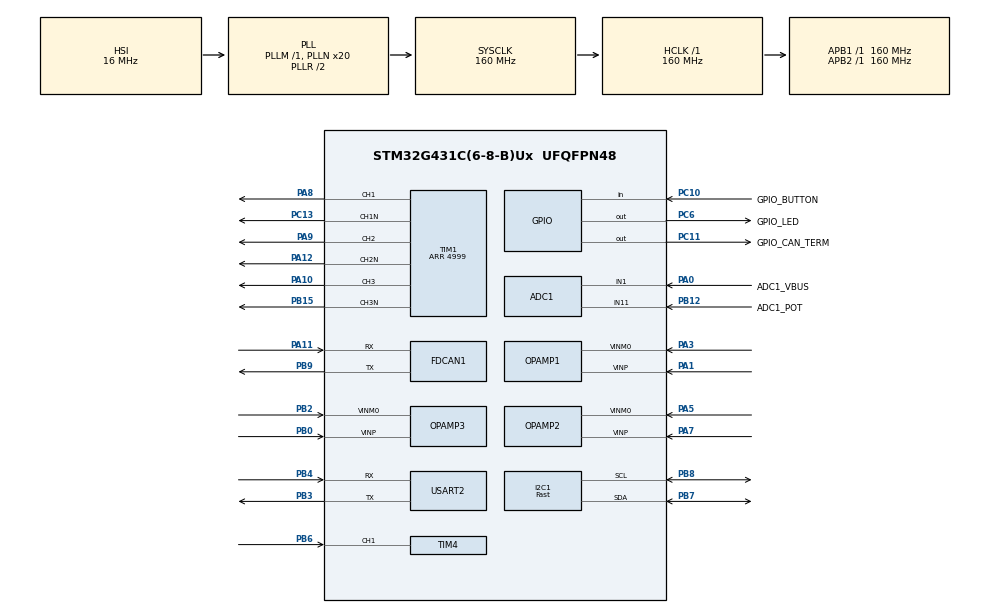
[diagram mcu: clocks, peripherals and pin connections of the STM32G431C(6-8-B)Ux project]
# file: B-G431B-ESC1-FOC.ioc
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ADC1.Channel-0\#ChannelRegularConversion=ADC_CHANNEL_VOPAMP1
ADC1.Channel-1\#ChannelRegularConversion=ADC_CHANNEL_1
ADC1.Channel-2\#ChannelRegularConversion=ADC_CHANNEL_11
ADC1.DMAContinuousRequests=ENABLE
ADC1.EOCSelection=ADC_EOC_SEQ_CONV
ADC1.ExternalTrigConv=ADC_EXTERNALTRIG_T1_TRGO
ADC1.NbrOfConversion=3
ADC1.NbrOfConversionFlag=1
ADC1.OffsetNumber-0\#ChannelRegularConversion=ADC_OFFSET_NONE
ADC1.OffsetNumber-1\#ChannelRegularConversion=ADC_OFFSET_NONE
ADC1.OffsetNumber-2\#ChannelRegularConversion=ADC_OFFSET_NONE
ADC1.Overrun=ADC_OVR_DATA_OVERWRITTEN
ADC1.Rank-0\#ChannelRegularConversion=1
ADC1.Rank-1\#ChannelRegularConversion=2
ADC1.Rank-2\#ChannelRegularConversion=3
ADC1.SamplingTime-0\#ChannelRegularConversion=ADC_SAMPLETIME_2CYCLES_5
ADC1.SamplingTime-1\#ChannelRegularConversion=ADC_SAMPLETIME_2CYCLES_5
ADC1.SamplingTime-2\#ChannelRegularConversion=ADC_SAMPLETIME_2CYCLES_5
ADC1.master=1
ADC2.Channel-0\#ChannelRegularConversion=ADC_CHANNEL_VOPAMP2
ADC2.Channel-1\#ChannelRegularConversion=ADC_CHANNEL_VOPAMP3_ADC2
ADC2.DMAContinuousRequests=ENABLE
ADC2.EOCSelection=ADC_EOC_SEQ_CONV
ADC2.ExternalTrigConv=ADC_EXTERNALTRIG_T1_TRGO
ADC2.NbrOfConversion=2
ADC2.NbrOfConversionFlag=1
ADC2.OffsetNumber-0\#ChannelRegularConversion=ADC_OFFSET_NONE
ADC2.OffsetNumber-1\#ChannelRegularConversion=ADC_OFFSET_NONE
ADC2.Overrun=ADC_OVR_DATA_OVERWRITTEN
ADC2.Rank-0\#ChannelRegularConversion=1
ADC2.Rank-1\#ChannelRegularConversion=2
ADC2.SamplingTime-0\#ChannelRegularConversion=ADC_SAMPLETIME_2CYCLES_5
ADC2.SamplingTime-1\#ChannelRegularConversion=ADC_SAMPLETIME_2CYCLES_5
Dma.ADC1.0.Direction=DMA_PERIPH_TO_MEMORY
Dma.ADC1.0.EventEnable=DISABLE
Dma.ADC1.0.Instance=DMA1_Channel3
Dma.ADC1.0.MemDataAlignment=DMA_MDATAALIGN_HALFWORD
Dma.ADC1.0.MemInc=DMA_MINC_ENABLE
Dma.ADC1.0.Mode=DMA_CIRCULAR
Dma.ADC1.0.PeriphDataAlignment=DMA_PDATAALIGN_HALFWORD
Dma.ADC1.0.PeriphInc=DMA_PINC_DISABLE
Dma.ADC1.0.Polarity=HAL_DMAMUX_REQ_GEN_RISING
Dma.ADC1.0.Priority=DMA_PRIORITY_LOW
Dma.ADC1.0.RequestNumber=1
Dma.ADC1.0.SignalID=NONE
Dma.ADC1.0.SyncEnable=DISABLE
Dma.ADC1.0.SyncPolarity=HAL_DMAMUX_SYNC_NO_EVENT
Dma.ADC1.0.SyncRequestNumber=1
Dma.ADC1.0.SyncSignalID=NONE
Dma.ADC2.1.Direction=DMA_PERIPH_TO_MEMORY
Dma.ADC2.1.EventEnable=DISABLE
Dma.ADC2.1.Instance=DMA1_Channel4
Dma.ADC2.1.MemDataAlignment=DMA_MDATAALIGN_HALFWORD
Dma.ADC2.1.MemInc=DMA_MINC_ENABLE
Dma.ADC2.1.Mode=DMA_CIRCULAR
Dma.ADC2.1.PeriphDataAlignment=DMA_PDATAALIGN_HALFWORD
Dma.ADC2.1.PeriphInc=DMA_PINC_DISABLE
Dma.ADC2.1.Polarity=HAL_DMAMUX_REQ_GEN_RISING
Dma.ADC2.1.Priority=DMA_PRIORITY_LOW
Dma.ADC2.1.RequestNumber=1
Dma.ADC2.1.SignalID=NONE
Dma.ADC2.1.SyncEnable=DISABLE
Dma.ADC2.1.SyncPolarity=HAL_DMAMUX_SYNC_NO_EVENT
Dma.ADC2.1.SyncRequestNumber=1
Dma.ADC2.1.SyncSignalID=NONE
Dma.Request0=ADC1
Dma.Request1=ADC2
Dma.Request2=USART2_RX
Dma.Request3=USART2_TX
Dma.USART2_RX.2.Direction=DMA_PERIPH_TO_MEMORY
Dma.USART2_RX.2.EventEnable=DISABLE
Dma.USART2_RX.2.Instance=DMA1_Channel1
Dma.USART2_RX.2.MemDataAlignment=DMA_MDATAALIGN_BYTE
Dma.USART2_RX.2.MemInc=DMA_MINC_ENABLE
Dma.USART2_RX.2.Mode=DMA_NORMAL
Dma.USART2_RX.2.PeriphDataAlignment=DMA_PDATAALIGN_BYTE
Dma.USART2_RX.2.PeriphInc=DMA_PINC_DISABLE
Dma.USART2_RX.2.Polarity=HAL_DMAMUX_REQ_GEN_RISING
Dma.USART2_RX.2.Priority=DMA_PRIORITY_LOW
Dma.USART2_RX.2.RequestNumber=1
Dma.USART2_RX.2.SignalID=NONE
Dma.USART2_RX.2.SyncEnable=DISABLE
Dma.USART2_RX.2.SyncPolarity=HAL_DMAMUX_SYNC_NO_EVENT
Dma.USART2_RX.2.SyncRequestNumber=1
Dma.USART2_RX.2.SyncSignalID=NONE
Dma.USART2_TX.3.Direction=DMA_MEMORY_TO_PERIPH
Dma.USART2_TX.3.EventEnable=DISABLE
Dma.USART2_TX.3.Instance=DMA1_Channel2
Dma.USART2_TX.3.MemDataAlignment=DMA_MDATAALIGN_BYTE
Dma.USART2_TX.3.MemInc=DMA_MINC_ENABLE
Dma.USART2_TX.3.Mode=DMA_NORMAL
Dma.USART2_TX.3.PeriphDataAlignment=DMA_PDATAALIGN_BYTE
Dma.USART2_TX.3.PeriphInc=DMA_PINC_DISABLE
Dma.USART2_TX.3.Polarity=HAL_DMAMUX_REQ_GEN_RISING
Dma.USART2_TX.3.Priority=DMA_PRIORITY_LOW
Dma.USART2_TX.3.RequestNumber=1
Dma.USART2_TX.3.SignalID=NONE
Dma.USART2_TX.3.SyncEnable=DISABLE
Dma.USART2_TX.3.SyncPolarity=HAL_DMAMUX_SYNC_NO_EVENT
Dma.USART2_TX.3.SyncRequestNumber=1
Dma.USART2_TX.3.SyncSignalID=NONE
FDCAN1.DataSyncJumpWidth=4
FDCAN1.DataTimeSeg1=5
FDCAN1.DataTimeSeg2=4
FDCAN1.NominalSyncJumpWidth=16
FDCAN1.NominalTimeSeg1=63
FDCAN1.NominalTimeSeg2=16
FDCAN1.StdFiltersNbr=1
I2C1.I2C_Speed_Mode=I2C_Fast
I2C1.Timing=0x00F07BFF
Mcu.Family=STM32G4
Mcu.Name=STM32G431C(6-8-B)Ux
Mcu.Package=UFQFPN48
NVIC.ADC1_2_IRQn=true\:0\:0\:false\:false\:true\:true\:true\:true
NVIC.DMA1_Channel1_IRQn=true\:0\:0\:false\:false\:true\:false\:true\:true
NVIC.DMA1_Channel2_IRQn=true\:0\:0\:false\:false\:true\:false\:true\:true
NVIC.DMA1_Channel3_IRQn=true\:0\:0\:false\:false\:true\:false\:true\:true
NVIC.DMA1_Channel4_IRQn=true\:0\:0\:false\:false\:true\:false\:true\:true
NVIC.FDCAN1_IT0_IRQn=true\:0\:0\:false\:false\:true\:true\:true\:true
NVIC.PriorityGroup=NVIC_PRIORITYGROUP_4
NVIC.TIM4_IRQn=true\:0\:0\:false\:false\:true\:true\:true\:true
NVIC.TIM6_DAC_IRQn=true\:0\:0\:false\:false\:true\:true\:true\:true
OPAMP1.PgaGain=OPAMP_PGA_GAIN_16_OR_MINUS_15
OPAMP2.PgaGain=OPAMP_PGA_GAIN_16_OR_MINUS_15
OPAMP3.PgaGain=OPAMP_PGA_GAIN_16_OR_MINUS_15
PA0.GPIO_Label=ADC1_VBUS
PA0.Mode=IN1-Single-Ended
PA0.Signal=ADC1_IN1
PA1.Mode=PGA Internally connected_IO0_BIAS
PA1.Signal=OPAMP1_VINP
PA10.Signal=S_TIM1_CH3
PA11.Mode=FDCAN_Activate
PA11.Signal=FDCAN1_RX
PA12.Mode=PWM Generation2 CH2 CH2N
PA12.Signal=TIM1_CH2N
PA13.Mode=Serial_Wire
PA13.Signal=SYS_JTMS-SWDIO
PA14.Mode=Serial_Wire
PA14.Signal=SYS_JTCK-SWCLK
PA3.Mode=PGA Internally connected_IO0_BIAS
PA3.Signal=OPAMP1_VINM0
PA5.Mode=PGA Internally connected_IO0_BIAS
PA5.Signal=OPAMP2_VINM0
PA7.Mode=PGA Internally connected_IO0_BIAS
PA7.Signal=OPAMP2_VINP
PA8.Signal=S_TIM1_CH1
PA9.Signal=S_TIM1_CH2
PB0.Mode=PGA Internally connected_IO0_BIAS
PB0.Signal=OPAMP3_VINP
PB12.GPIO_Label=ADC1_POT
PB12.Mode=IN11-Single-Ended
PB12.Signal=ADC1_IN11
PB15.Mode=PWM Generation3 CH3 CH3N
PB15.Signal=TIM1_CH3N
PB2.Mode=PGA Internally connected_IO0_BIAS
PB2.Signal=OPAMP3_VINM0
PB3.Mode=Asynchronous
PB3.Signal=USART2_TX
PB4.Mode=Asynchronous
PB4.Signal=USART2_RX
PB6.GPIO_PuPd=GPIO_PULLDOWN
PB6.Signal=S_TIM4_CH1
PB7.Mode=I2C
PB7.Signal=I2C1_SDA
PB8-BOOT0.Mode=I2C
PB8-BOOT0.Signal=I2C1_SCL
PB9.Mode=FDCAN_Activate
PB9.Signal=FDCAN1_TX
PC10.GPIO_Label=GPIO_BUTTON
PC10.Signal=GPIO_Input
PC11.GPIO_Label=GPIO_CAN_TERM
PC11.PinState=GPIO_PIN_SET
PC11.Signal=GPIO_Output
PC13.Mode=PWM Generation1 CH1 CH1N
PC13.Signal=TIM1_CH1N
PC6.GPIO_Label=GPIO_LED
PC6.Signal=GPIO_Output
PF0-OSC_IN.Mode=HSE-External-Oscillator
PF0-OSC_IN.Signal=RCC_OSC_IN
PF1-OSC_OUT.Mode=HSE-External-Oscillator
PF1-OSC_OUT.Signal=RCC_OSC_OUT
ProjectManager.HeapSize=0x200
ProjectManager.StackSize=0x400
ProjectManager.TargetToolchain=STM32CubeIDE
RCC.ADC12Freq_Value=160000000
RCC.AHBFreq_Value=160000000
RCC.APB1Freq_Value=160000000
RCC.APB1TimFreq_Value=160000000
RCC.APB2Freq_Value=160000000
RCC.APB2TimFreq_Value=160000000
RCC.CortexFreq_Value=160000000
RCC.EXTERNAL_CLOCK_VALUE=12288000
RCC.HCLKFreq_Value=160000000
RCC.HSE_VALUE=8000000
RCC.HSI48_VALUE=48000000
RCC.HSI_VALUE=16000000
RCC.LSE_VALUE=32768
RCC.PLLN=20
RCC.SYSCLKFreq_VALUE=160000000
RCC.SYSCLKSource=RCC_SYSCLKSOURCE_PLLCLK
RCC.USBFreq_Value=160000000
RCC.VCOOutputFreq_Value=320000000
SH.S_TIM1_CH1.0=TIM1_CH1,PWM Generation1 CH1 CH1N
SH.S_TIM1_CH2.0=TIM1_CH2,PWM Generation2 CH2 CH2N
SH.S_TIM1_CH3.0=TIM1_CH3,PWM Generation3 CH3 CH3N
SH.S_TIM4_CH1.0=TIM4_CH1,PWM_Input_1
TIM1.Channel-PWM\ Generation1\ CH1\ CH1N=TIM_CHANNEL_1
TIM1.Channel-PWM\ Generation2\ CH2\ CH2N=TIM_CHANNEL_2
TIM1.Channel-PWM\ Generation3\ CH3\ CH3N=TIM_CHANNEL_3
TIM1.CounterMode=TIM_COUNTERMODE_CENTERALIGNED1
TIM1.DeadTime=128
TIM1.PeriodNoDither=4999
TIM1.TIM_MasterOutputTrigger=TIM_TRGO_UPDATE
TIM4.PeriodNoDither=999
TIM4.Prescaler=159
TIM6.PeriodNoDither=9999
TIM6.Prescaler=159
TIM7.Prescaler=159
USART2.DMADisableonRxErrorParam=ADVFEATURE_DMA_DISABLEONRXERROR
USART2.FIFOMode=FIFOMODE_DISABLE
USART2.OverrunDisableParam=ADVFEATURE_OVERRUN_DISABLE
USART2.VirtualMode-Asynchronous=VM_ASYNC
VP_ADC1_OPAMP_INTERNAL1.Mode=IN-OPAMP1
VP_ADC2_OPAMP_INTERNAL2.Mode=IN-OPAMP2
VP_ADC2_OPAMP_INTERNAL3.Mode=IN-OPAMP3
VP_SYS_VS_DBSignals.Mode=DisableDeadBatterySignals
VP_TIM6_VS_ClockSourceINT.Mode=Enable_Timer
VP_TIM7_VS_ClockSourceINT.Mode=Enable_Timer
board=custom

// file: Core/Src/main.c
/* USER CODE BEGIN Header */
/**
  ******************************************************************************
  * @file           : main.c
  * @brief          : Main program body
  ******************************************************************************
  * @attention
  *
  * Copyright (c) 2022 STMicroelectronics.
  * All rights reserved.
  *
  * This software is licensed under terms that can be found in the LICENSE file
  * in the root directory of this software component.
  * If no LICENSE file comes with this software, it is provided AS-IS.
  *
  ******************************************************************************
  */
/* USER CODE END Header */
#include "main.h"

/* USER CODE BEGIN PD */
#define NLSM_END 0x0AU
#define NLSM_ESC 0x0BU
#define NLSM_ESC_END 0x1AU
#define NLSM_ESC_ESC 0x1BU
/* USER CODE END PD */

 ADC_HandleTypeDef hadc1;
ADC_HandleTypeDef hadc2;
DMA_HandleTypeDef hdma_adc1;
DMA_HandleTypeDef hdma_adc2;

FDCAN_HandleTypeDef hfdcan1;

I2C_HandleTypeDef hi2c1;

OPAMP_HandleTypeDef hopamp1;
OPAMP_HandleTypeDef hopamp2;
OPAMP_HandleTypeDef hopamp3;

TIM_HandleTypeDef htim1;
TIM_HandleTypeDef htim4;
TIM_HandleTypeDef htim6;
TIM_HandleTypeDef htim7;

UART_HandleTypeDef huart2;
DMA_HandleTypeDef hdma_usart2_rx;
DMA_HandleTypeDef hdma_usart2_tx;

/* USER CODE BEGIN PV */

const uint16_t ADC_RESOLUTION = 4096;
//const float ADC_OPAMP_CURRENT_COEFFICIENT = 0.00357; // convert ADC bits to Amps
const float ADC_OPAMP_CURRENT_COEFFICIENT = 0.004; // convert ADC bits to Amps

uint16_t adc1_dma_data[3];
uint16_t adc2_dma_data[2];
uint16_t adc_opamp_current_offset[3];

AS5600 encoder;
FOC_Config foc_config;
FOC_Param foc_param;

// encoder variables
float encoder_position_prev;
int32_t encoder_n_rotations;

float input_pot;

FDCAN_RxHeaderTypeDef can_rx_header;
uint8_t can_rx_data[8];
FDCAN_TxHeaderTypeDef can_tx_header;
uint8_t can_tx_data[8];

uint8_t serial_rx_buffer[32];
uint8_t serial_tx_buffer[128];

/* USER CODE END PV */

void SystemClock_Config(void);
static void MX_GPIO_Init(void);
static void MX_OPAMP1_Init(void);
static void MX_OPAMP2_Init(void);
static void MX_OPAMP3_Init(void);
static void MX_TIM1_Init(void);
static void MX_USART2_UART_Init(void);
static void MX_I2C1_Init(void);
static void MX_DMA_Init(void);
static void MX_ADC2_Init(void);
static void MX_ADC1_Init(void);
static void MX_TIM6_Init(void);
static void MX_TIM4_Init(void);
static void MX_FDCAN1_Init(void);
static void MX_TIM7_Init(void);
/* USER CODE BEGIN PFP */

uint8_t getUserButton();
void handleHostCommand();

/* USER CODE END PFP */

/* USER CODE BEGIN 0 */

void HAL_ADC_ConvCpltCallback(ADC_HandleTypeDef *hadc) {
  if (hadc == &hadc1) {
    // phase current: positive for going into phase, negative for going out of phase
    // shunt: when current flows inward phase, shunt voltage is negative; when current flows outward phase, shunt voltage is positive
    // thus we put negative sign at phase current conversion.
    if(__HAL_TIM_IS_TIM_COUNTING_DOWN(&htim1)) {
      foc_param.phase_current_measured[0] = -(float)(adc1_dma_data[0] - adc_opamp_current_offset[0]) * ADC_OPAMP_CURRENT_COEFFICIENT;
      foc_param.bus_voltage_measured = adc1_dma_data[1] / (float)ADC_RESOLUTION * 3.3 * 10.39;
      input_pot = (adc1_dma_data[2] / (float)ADC_RESOLUTION) * 2 - 1;
    }
  }
  if (hadc == &hadc2) {
    if(__HAL_TIM_IS_TIM_COUNTING_DOWN(&htim1)) {
      foc_param.phase_current_measured[1] = -(float)(adc2_dma_data[0] - adc_opamp_current_offset[1]) * ADC_OPAMP_CURRENT_COEFFICIENT;
      foc_param.phase_current_measured[2] = -(float)(adc2_dma_data[1] - adc_opamp_current_offset[2]) * ADC_OPAMP_CURRENT_COEFFICIENT;
    }
  }
}

void HAL_TIM_IC_CaptureCallback(TIM_HandleTypeDef *htim) {
//  if (htim == &htim4) {
//    logStat();
//    FOC_updateTorque();
//  }
}

void HAL_TIM_PeriodElapsedCallback(TIM_HandleTypeDef *htim) {
  if (htim == &htim4) {
    FOC_updateTorque();
  }
  else if (htim == &htim6) {
    FOC_updatePositionVelocityPID();
  }
}

void HAL_UARTEx_RxEventCallback(UART_HandleTypeDef *huart, uint16_t size) {
  if (huart == &huart2) {
    if (size == 11) {
      can_rx_header.Identifier = ((uint32_t)serial_rx_buffer[0] << 8) | serial_rx_buffer[1];
      can_rx_header.DataLength = serial_rx_buffer[2];
      can_rx_data[0] = serial_rx_buffer[4];
      can_rx_data[1] = serial_rx_buffer[5];
      can_rx_data[2] = serial_rx_buffer[6];
      can_rx_data[3] = serial_rx_buffer[7];
      can_rx_data[4] = serial_rx_buffer[8];
      can_rx_data[5] = serial_rx_buffer[9];
      can_rx_data[6] = serial_rx_buffer[10];
      can_rx_data[7] = serial_rx_buffer[11];

      handleHostCommand();
    }
    HAL_UARTEx_ReceiveToIdle_DMA(&huart2, serial_rx_buffer, 12);
  }
}

uint8_t getUserButton() {
  return HAL_GPIO_ReadPin(GPIO_BUTTON_GPIO_Port, GPIO_BUTTON_Pin) ? 0 : 1;
}

void handleHostCommand() {

  switch (can_rx_header.Identifier) {
    case 0x08:  // mode control frame
      if (can_rx_header.DataLength == 0) {
        serial_tx_buffer[0] = 0x00;
        serial_tx_buffer[1] = 0x08;
        serial_tx_buffer[2] = 0x01;
        serial_tx_buffer[0] = 0x00;  // UNUSED
        serial_tx_buffer[4] = foc_config.mode;
        HAL_UART_Transmit_DMA(&huart2, serial_tx_buffer, 12);
        break;
      }
      switch (can_rx_data[0]) {
        case FOC_MODE_CALIBRATION:  // calibration mode
          sprintf((char *)serial_tx_buffer, "Start Calibration\n");
          HAL_UART_Transmit_DMA(&huart2, serial_tx_buffer, strlen((char *)serial_tx_buffer));
          FOC_runCalibrationSequence();
          sprintf((char *)serial_tx_buffer, "Calibration Done!\n");
          HAL_UART_Transmit_DMA(&huart2, serial_tx_buffer, strlen((char *)serial_tx_buffer));
          break;
        case FOC_MODE_TORQUE:  // torque mode
          foc_config.mode = FOC_MODE_TORQUE;
          sprintf((char *)serial_tx_buffer, "TORQUE mode\n");
          HAL_UART_Transmit_DMA(&huart2, serial_tx_buffer, strlen((char *)serial_tx_buffer));
          break;
        case FOC_MODE_VELOCITY:  // velocity mode
          foc_config.mode = FOC_MODE_VELOCITY;
          sprintf((char *)serial_tx_buffer, "VELOCITY mode\n");
          HAL_UART_Transmit_DMA(&huart2, serial_tx_buffer, strlen((char *)serial_tx_buffer));
          break;
        case FOC_MODE_POSITION:  // position mode
          foc_config.mode = FOC_MODE_POSITION;
          sprintf((char *)serial_tx_buffer, "POSITION mode\n");
          HAL_UART_Transmit_DMA(&huart2, serial_tx_buffer, strlen((char *)serial_tx_buffer));
          break;
        default:  // idle mode
          foc_config.mode = FOC_MODE_IDLE;
          sprintf((char *)serial_tx_buffer, "IDLE mode\n");
          HAL_UART_Transmit_DMA(&huart2, serial_tx_buffer, strlen((char *)serial_tx_buffer));
          break;
      }
      break;

    case 0x20:  // currents info
      break;

    case 0x40:  // log position
      if (can_rx_header.DataLength == 0) {
        serial_tx_buffer[0] = 0x00;
        serial_tx_buffer[1] = 0x40;
        serial_tx_buffer[2] = 0x08;
        serial_tx_buffer[0] = 0x00;  // UNUSED
        ((float *)serial_tx_buffer)[1] = foc_param.position_setpoint;
        ((float *)serial_tx_buffer)[2] = foc_param.position_measured;
        HAL_UART_Transmit_DMA(&huart2, serial_tx_buffer, 12);
        break;
      }
      break;
    case 0x41:  // log velocity
      if (can_rx_header.DataLength == 0) {
        serial_tx_buffer[0] = 0x00;
        serial_tx_buffer[1] = 0x41;
        serial_tx_buffer[2] = 0x08;
        serial_tx_buffer[0] = 0x00;  // UNUSED
        ((float *)serial_tx_buffer)[1] = foc_param.velocity_setpoint;
        ((float *)serial_tx_buffer)[2] = foc_param.velocity_measured;
        HAL_UART_Transmit_DMA(&huart2, serial_tx_buffer, 12);
        break;
      }
  }

//  }
//  if (command == 'I') {
//    sprintf(str, "%f\t%f\t%f\t%f\t%f\t%f\t%f\n",
//        foc_param.phase_current_measured[0],
//        foc_param.phase_current_measured[1],
//        foc_param.phase_current_measured[2],
//        foc_param.i_alpha,
//        foc_param.i_beta,
//        foc_param.i_q,
//        foc_param.i_d);
//    HAL_UART_Transmit(&huart2, (uint8_t *)str, strlen(str), 1000);
//    return;
//  }
//  if (command == 'V') {  // log voltages
//    sprintf(str, "%f\t%f\t%f\t%f\t%f\t%f\t%f\t%f\n",
//        foc_param.phase_voltage_setpoint[0],
//        foc_param.phase_voltage_setpoint[1],
//        foc_param.phase_voltage_setpoint[2],
//        foc_param.v_alpha,
//        foc_param.v_beta,
//        foc_param.v_q,
//        foc_param.v_d,
//        foc_param.bus_voltage_measured);
//    HAL_UART_Transmit(&huart2, (uint8_t *)str, strlen(str), 1000);
//    return;
//  }
//  if (command == 'G') {  // log general
//    sprintf(str, "%f\t%f\t%f\t%f\t%f\t%f\n",
//        foc_param.position_measured,
//        foc_param.position_setpoint,
//        foc_param.velocity_measured,
//        foc_param.velocity_setpoint,
//        foc_param.i_q,
//        foc_param.torque_setpoint
//        );
//    HAL_UART_Transmit(&huart2, (uint8_t *)str, strlen(str), 1000);
//    return;
//  }
}

void CAN_init(void) {
  FDCAN_FilterTypeDef sFilterConfig;

  /* Configure Rx filter */
  sFilterConfig.IdType = FDCAN_STANDARD_ID;
  sFilterConfig.FilterIndex = 0;
  sFilterConfig.FilterType = FDCAN_FILTER_RANGE;
  sFilterConfig.FilterConfig = FDCAN_FILTER_TO_RXFIFO0;
  sFilterConfig.FilterID1 = 0x000;
  sFilterConfig.FilterID2 = 0x100;
  if (HAL_FDCAN_ConfigFilter(&hfdcan1, &sFilterConfig) != HAL_OK) {
    Error_Handler();
  }

  /* Configure global filter:
     Filter all remote frames with STD and EXT ID
     Reject non matching frames with STD ID and EXT ID */
  if (HAL_FDCAN_ConfigGlobalFilter(&hfdcan1, FDCAN_REJECT, FDCAN_REJECT, FDCAN_FILTER_REMOTE, FDCAN_FILTER_REMOTE) != HAL_OK) {
    Error_Handler();
  }

  /* Start the FDCAN module */
  if (HAL_FDCAN_Start(&hfdcan1) != HAL_OK) {
    Error_Handler();
  }

  if (HAL_FDCAN_ActivateNotification(&hfdcan1, FDCAN_IT_RX_FIFO0_NEW_MESSAGE, 0) != HAL_OK) {
    Error_Handler();
  }

  /* Prepare Tx Header */
//  TxHeader.Identifier = 0;
//  TxHeader.IdType = FDCAN_STANDARD_ID;
//  TxHeader.TxFrameType = FDCAN_DATA_FRAME;
//  TxHeader.DataLength = FDCAN_DLC_BYTES_8;
//  TxHeader.ErrorStateIndicator = FDCAN_ESI_ACTIVE;
//  TxHeader.BitRateSwitch = FDCAN_BRS_OFF;
//  TxHeader.FDFormat = FDCAN_CLASSIC_CAN;
//  TxHeader.TxEventFifoControl = FDCAN_NO_TX_EVENTS;
//  TxHeader.MessageMarker = 0;
}

/* USER CODE END 0 */

int main(void)
{

  /* MCU Configuration--------------------------------------------------------*/

  /* Reset of all peripherals, Initializes the Flash interface and the Systick. */
  HAL_Init();

  /* Configure the system clock */
  SystemClock_Config();

  /* Initialize all configured peripherals */
  MX_GPIO_Init();
  MX_OPAMP1_Init();
  MX_OPAMP2_Init();
  MX_OPAMP3_Init();
  MX_TIM1_Init();
  MX_USART2_UART_Init();
  MX_I2C1_Init();
  MX_DMA_Init();
  MX_ADC2_Init();
  MX_ADC1_Init();
  MX_TIM6_Init();
  MX_TIM4_Init();
  MX_FDCAN1_Init();
  MX_TIM7_Init();
  /* USER CODE BEGIN 2 */

  AS5600_init(&encoder, &hi2c1, &htim7);

  foc_config.mode = FOC_MODE_IDLE;
  foc_config.encoder_flux_angle_offset = 1.77;
  foc_config.n_pole_pairs = 14;
  foc_config.motor_direction = 1;
  foc_config.is_closed_loop = 0;

  foc_config.position_kp = 0.2;
  foc_config.position_ki = 0.001;
  foc_config.position_ki_threshold = 100;
  foc_config.position_kd = 0.01;
  foc_config.position_limit_lower = -0.25*M_PI*15;
  foc_config.position_limit_upper = 0.75*M_PI*15;

  foc_config.velocity_kp = 0.2;
  foc_config.velocity_ki = 0.002;
  foc_config.velocity_ki_threshold = 100;
  foc_config.velocity_limit_upper = 0;
  foc_config.velocity_limit_lower = 0;

  foc_config.torque_kp = 4;
  foc_config.torque_limit_upper = 10;
  foc_config.torque_limit_lower = -10;

  foc_config.flux_kp = 4;

  foc_config.current_limit = 5;

  foc_config.current_sample_filter_rate = 0.1;

  FOC_init(&foc_config, &foc_param, &encoder);

//  uint8_t buffer[2];
//  HAL_I2C_Mem_Read(&hi2c1, 0b0110110<<1, 0x08, I2C_MEMADD_SIZE_8BIT, buffer, 1, 10);
//  buffer[0] &= ~(0b11 << 4);
//  buffer[0] |= (0b10 << 4);
//  HAL_I2C_Mem_Write(&hi2c1, 0b0110110<<1, 0x08, I2C_MEMADD_SIZE_8BIT, buffer, 1, 10);

  adc_opamp_current_offset[0] = 2485;
  adc_opamp_current_offset[1] = 2463;
  adc_opamp_current_offset[2] = 2484;

  // initialize
  CAN_init();

  __HAL_TIM_SET_COMPARE(&htim1, TIM_CHANNEL_1, 0);
  __HAL_TIM_SET_COMPARE(&htim1, TIM_CHANNEL_2, 0);
  __HAL_TIM_SET_COMPARE(&htim1, TIM_CHANNEL_3, 0);

  HAL_TIM_PWM_Start(&htim1,TIM_CHANNEL_1);
  HAL_TIMEx_PWMN_Start(&htim1,TIM_CHANNEL_1);
  HAL_TIM_PWM_Start(&htim1,TIM_CHANNEL_2);
  HAL_TIMEx_PWMN_Start(&htim1,TIM_CHANNEL_2);
  HAL_TIM_PWM_Start(&htim1,TIM_CHANNEL_3);
  HAL_TIMEx_PWMN_Start(&htim1,TIM_CHANNEL_3);

  // OPAMP and ADC init
  HAL_OPAMP_Start(&hopamp1);
  HAL_OPAMP_Start(&hopamp2);
  HAL_OPAMP_Start(&hopamp3);

  HAL_ADC_Start_DMA(&hadc1, (uint32_t*)adc1_dma_data, 3);
  HAL_ADC_Start_DMA(&hadc2, (uint32_t*)adc2_dma_data, 2);

//  HAL_TIM_IC_Start_IT(&htim4, TIM_CHANNEL_1);
//  HAL_TIM_IC_Start(&htim4, TIM_CHANNEL_2);
  HAL_TIM_Base_Start_IT(&htim4);
  HAL_TIM_Base_Start_IT(&htim6);
  HAL_TIM_Base_Start(&htim7);

  // CORDIC init
//  API_CORDIC_Processor_Init();

  foc_param.position_setpoint = 0;

  HAL_UART_Transmit(&huart2, (uint8_t *)"ready\n", strlen("ready\n"), 1000);

  HAL_UARTEx_ReceiveToIdle_DMA(&huart2, serial_rx_buffer, 12);

  /* USER CODE END 2 */

  /* Infinite loop */
  while (1) {

    /* USER CODE BEGIN 3 */
    if (getUserButton()) {
      FOC_runCalibrationSequence();
    }

    if (foc_config.mode == FOC_MODE_TORQUE) {
      foc_param.torque_setpoint = input_pot * 5;
      foc_param.velocity_setpoint = 0;
      foc_param.position_setpoint = 0;
    }
    else if (foc_config.mode == FOC_MODE_VELOCITY) {
      foc_param.velocity_setpoint = input_pot * 10;
      foc_param.position_setpoint = 0;
    }
    else if (foc_config.mode == FOC_MODE_POSITION) {
      foc_param.velocity_setpoint = 0;
      foc_param.position_setpoint = input_pot * M_PI * 15;
    }
//    handleHostCommand();
    HAL_Delay(1);
  }
  /* USER CODE END 3 */
}

void SystemClock_Config(void)
{
  RCC_OscInitTypeDef RCC_OscInitStruct = {0};
  RCC_ClkInitTypeDef RCC_ClkInitStruct = {0};

  /** Configure the main internal regulator output voltage
  */
  HAL_PWREx_ControlVoltageScaling(PWR_REGULATOR_VOLTAGE_SCALE1_BOOST);

  /** Initializes the RCC Oscillators according to the specified parameters
  * in the RCC_OscInitTypeDef structure.
  */
  RCC_OscInitStruct.OscillatorType = RCC_OSCILLATORTYPE_HSI;
  RCC_OscInitStruct.HSIState = RCC_HSI_ON;
  RCC_OscInitStruct.HSICalibrationValue = RCC_HSICALIBRATION_DEFAULT;
  RCC_OscInitStruct.PLL.PLLState = RCC_PLL_ON;
  RCC_OscInitStruct.PLL.PLLSource = RCC_PLLSOURCE_HSI;
  RCC_OscInitStruct.PLL.PLLM = RCC_PLLM_DIV1;
  RCC_OscInitStruct.PLL.PLLN = 20;
  RCC_OscInitStruct.PLL.PLLP = RCC_PLLP_DIV2;
  RCC_OscInitStruct.PLL.PLLQ = RCC_PLLQ_DIV2;
  RCC_OscInitStruct.PLL.PLLR = RCC_PLLR_DIV2;
  if (HAL_RCC_OscConfig(&RCC_OscInitStruct) != HAL_OK)
  {
    Error_Handler();
  }

  /** Initializes the CPU, AHB and APB buses clocks
  */
  RCC_ClkInitStruct.ClockType = RCC_CLOCKTYPE_HCLK|RCC_CLOCKTYPE_SYSCLK
                              |RCC_CLOCKTYPE_PCLK1|RCC_CLOCKTYPE_PCLK2;
  RCC_ClkInitStruct.SYSCLKSource = RCC_SYSCLKSOURCE_PLLCLK;
  RCC_ClkInitStruct.AHBCLKDivider = RCC_SYSCLK_DIV1;
  RCC_ClkInitStruct.APB1CLKDivider = RCC_HCLK_DIV1;
  RCC_ClkInitStruct.APB2CLKDivider = RCC_HCLK_DIV1;

  if (HAL_RCC_ClockConfig(&RCC_ClkInitStruct, FLASH_LATENCY_4) != HAL_OK)
  {
    Error_Handler();
  }
}

static void MX_ADC1_Init(void)
{

  ADC_MultiModeTypeDef multimode = {0};
  ADC_ChannelConfTypeDef sConfig = {0};

  /** Common config
  */
  hadc1.Instance = ADC1;
  hadc1.Init.ClockPrescaler = ADC_CLOCK_SYNC_PCLK_DIV4;
  hadc1.Init.Resolution = ADC_RESOLUTION_12B;
  hadc1.Init.DataAlign = ADC_DATAALIGN_RIGHT;
  hadc1.Init.GainCompensation = 0;
  hadc1.Init.ScanConvMode = ADC_SCAN_ENABLE;
  hadc1.Init.EOCSelection = ADC_EOC_SEQ_CONV;
  hadc1.Init.LowPowerAutoWait = DISABLE;
  hadc1.Init.ContinuousConvMode = DISABLE;
  hadc1.Init.NbrOfConversion = 3;
  hadc1.Init.DiscontinuousConvMode = DISABLE;
  hadc1.Init.ExternalTrigConv = ADC_EXTERNALTRIG_T1_TRGO;
  hadc1.Init.ExternalTrigConvEdge = ADC_EXTERNALTRIGCONVEDGE_RISING;
  hadc1.Init.DMAContinuousRequests = ENABLE;
  hadc1.Init.Overrun = ADC_OVR_DATA_OVERWRITTEN;
  hadc1.Init.OversamplingMode = DISABLE;
  if (HAL_ADC_Init(&hadc1) != HAL_OK)
  {
    Error_Handler();
  }

  /** Configure the ADC multi-mode
  */
  multimode.Mode = ADC_MODE_INDEPENDENT;
  if (HAL_ADCEx_MultiModeConfigChannel(&hadc1, &multimode) != HAL_OK)
  {
    Error_Handler();
  }

  /** Configure Regular Channel
  */
  sConfig.Channel = ADC_CHANNEL_VOPAMP1;
  sConfig.Rank = ADC_REGULAR_RANK_1;
  sConfig.SamplingTime = ADC_SAMPLETIME_2CYCLES_5;
  sConfig.SingleDiff = ADC_SINGLE_ENDED;
  sConfig.OffsetNumber = ADC_OFFSET_NONE;
  sConfig.Offset = 0;
  if (HAL_ADC_ConfigChannel(&hadc1, &sConfig) != HAL_OK)
  {
    Error_Handler();
  }

  /** Configure Regular Channel
  */
  sConfig.Channel = ADC_CHANNEL_1;
  sConfig.Rank = ADC_REGULAR_RANK_2;
  if (HAL_ADC_ConfigChannel(&hadc1, &sConfig) != HAL_OK)
  {
    Error_Handler();
  }

  /** Configure Regular Channel
  */
  sConfig.Channel = ADC_CHANNEL_11;
  sConfig.Rank = ADC_REGULAR_RANK_3;
  if (HAL_ADC_ConfigChannel(&hadc1, &sConfig) != HAL_OK)
  {
    Error_Handler();
  }

}

static void MX_ADC2_Init(void)
{

  ADC_ChannelConfTypeDef sConfig = {0};

  /** Common config
  */
  hadc2.Instance = ADC2;
  hadc2.Init.ClockPrescaler = ADC_CLOCK_SYNC_PCLK_DIV4;
  hadc2.Init.Resolution = ADC_RESOLUTION_12B;
  hadc2.Init.DataAlign = ADC_DATAALIGN_RIGHT;
  hadc2.Init.GainCompensation = 0;
  hadc2.Init.ScanConvMode = ADC_SCAN_ENABLE;
  hadc2.Init.EOCSelection = ADC_EOC_SEQ_CONV;
  hadc2.Init.LowPowerAutoWait = DISABLE;
  hadc2.Init.ContinuousConvMode = DISABLE;
  hadc2.Init.NbrOfConversion = 2;
  hadc2.Init.DiscontinuousConvMode = DISABLE;
  hadc2.Init.ExternalTrigConv = ADC_EXTERNALTRIG_T1_TRGO;
  hadc2.Init.ExternalTrigConvEdge = ADC_EXTERNALTRIGCONVEDGE_RISING;
  hadc2.Init.DMAContinuousRequests = ENABLE;
  hadc2.Init.Overrun = ADC_OVR_DATA_OVERWRITTEN;
  hadc2.Init.OversamplingMode = DISABLE;
  if (HAL_ADC_Init(&hadc2) != HAL_OK)
  {
    Error_Handler();
  }

  /** Configure Regular Channel
  */
  sConfig.Channel = ADC_CHANNEL_VOPAMP2;
  sConfig.Rank = ADC_REGULAR_RANK_1;
  sConfig.SamplingTime = ADC_SAMPLETIME_2CYCLES_5;
  sConfig.SingleDiff = ADC_SINGLE_ENDED;
  sConfig.OffsetNumber = ADC_OFFSET_NONE;
  sConfig.Offset = 0;
  if (HAL_ADC_ConfigChannel(&hadc2, &sConfig) != HAL_OK)
  {
    Error_Handler();
  }

  /** Configure Regular Channel
  */
  sConfig.Channel = ADC_CHANNEL_VOPAMP3_ADC2;
  sConfig.Rank = ADC_REGULAR_RANK_2;
  if (HAL_ADC_ConfigChannel(&hadc2, &sConfig) != HAL_OK)
  {
    Error_Handler();
  }

}

static void MX_FDCAN1_Init(void)
{

  hfdcan1.Instance = FDCAN1;
  hfdcan1.Init.ClockDivider = FDCAN_CLOCK_DIV1;
  hfdcan1.Init.FrameFormat = FDCAN_FRAME_CLASSIC;
  hfdcan1.Init.Mode = FDCAN_MODE_NORMAL;
  hfdcan1.Init.AutoRetransmission = DISABLE;
  hfdcan1.Init.TransmitPause = DISABLE;
  hfdcan1.Init.ProtocolException = DISABLE;
  hfdcan1.Init.NominalPrescaler = 1;
  hfdcan1.Init.NominalSyncJumpWidth = 16;
  hfdcan1.Init.NominalTimeSeg1 = 63;
  hfdcan1.Init.NominalTimeSeg2 = 16;
  hfdcan1.Init.DataPrescaler = 1;
  hfdcan1.Init.DataSyncJumpWidth = 4;
  hfdcan1.Init.DataTimeSeg1 = 5;
  hfdcan1.Init.DataTimeSeg2 = 4;
  hfdcan1.Init.StdFiltersNbr = 1;
  hfdcan1.Init.ExtFiltersNbr = 0;
  hfdcan1.Init.TxFifoQueueMode = FDCAN_TX_FIFO_OPERATION;
  if (HAL_FDCAN_Init(&hfdcan1) != HAL_OK)
  {
    Error_Handler();
  }

}

static void MX_I2C1_Init(void)
{

  hi2c1.Instance = I2C1;
  hi2c1.Init.Timing = 0x00F07BFF;
  hi2c1.Init.OwnAddress1 = 0;
  hi2c1.Init.AddressingMode = I2C_ADDRESSINGMODE_7BIT;
  hi2c1.Init.DualAddressMode = I2C_DUALADDRESS_DISABLE;
  hi2c1.Init.OwnAddress2 = 0;
  hi2c1.Init.OwnAddress2Masks = I2C_OA2_NOMASK;
  hi2c1.Init.GeneralCallMode = I2C_GENERALCALL_DISABLE;
  hi2c1.Init.NoStretchMode = I2C_NOSTRETCH_DISABLE;
  if (HAL_I2C_Init(&hi2c1) != HAL_OK)
  {
    Error_Handler();
  }

  /** Configure Analogue filter
  */
  if (HAL_I2CEx_ConfigAnalogFilter(&hi2c1, I2C_ANALOGFILTER_ENABLE) != HAL_OK)
  {
    Error_Handler();
  }

  /** Configure Digital filter
  */
  if (HAL_I2CEx_ConfigDigitalFilter(&hi2c1, 0) != HAL_OK)
  {
    Error_Handler();
  }

}

static void MX_OPAMP1_Init(void)
{

  hopamp1.Instance = OPAMP1;
  hopamp1.Init.PowerMode = OPAMP_POWERMODE_NORMALSPEED;
  hopamp1.Init.Mode = OPAMP_PGA_MODE;
  hopamp1.Init.NonInvertingInput = OPAMP_NONINVERTINGINPUT_IO0;
  hopamp1.Init.InternalOutput = ENABLE;
  hopamp1.Init.TimerControlledMuxmode = OPAMP_TIMERCONTROLLEDMUXMODE_DISABLE;
  hopamp1.Init.PgaConnect = OPAMP_PGA_CONNECT_INVERTINGINPUT_IO0_BIAS;
  hopamp1.Init.PgaGain = OPAMP_PGA_GAIN_16_OR_MINUS_15;
  hopamp1.Init.UserTrimming = OPAMP_TRIMMING_FACTORY;
  if (HAL_OPAMP_Init(&hopamp1) != HAL_OK)
  {
    Error_Handler();
  }

}

static void MX_OPAMP2_Init(void)
{

  hopamp2.Instance = OPAMP2;
  hopamp2.Init.PowerMode = OPAMP_POWERMODE_NORMALSPEED;
  hopamp2.Init.Mode = OPAMP_PGA_MODE;
  hopamp2.Init.NonInvertingInput = OPAMP_NONINVERTINGINPUT_IO0;
  hopamp2.Init.InternalOutput = ENABLE;
  hopamp2.Init.TimerControlledMuxmode = OPAMP_TIMERCONTROLLEDMUXMODE_DISABLE;
  hopamp2.Init.PgaConnect = OPAMP_PGA_CONNECT_INVERTINGINPUT_IO0_BIAS;
  hopamp2.Init.PgaGain = OPAMP_PGA_GAIN_16_OR_MINUS_15;
  hopamp2.Init.UserTrimming = OPAMP_TRIMMING_FACTORY;
  if (HAL_OPAMP_Init(&hopamp2) != HAL_OK)
  {
    Error_Handler();
  }

}

static void MX_OPAMP3_Init(void)
{

  hopamp3.Instance = OPAMP3;
  hopamp3.Init.PowerMode = OPAMP_POWERMODE_NORMALSPEED;
  hopamp3.Init.Mode = OPAMP_PGA_MODE;
  hopamp3.Init.NonInvertingInput = OPAMP_NONINVERTINGINPUT_IO0;
  hopamp3.Init.InternalOutput = ENABLE;
  hopamp3.Init.TimerControlledMuxmode = OPAMP_TIMERCONTROLLEDMUXMODE_DISABLE;
  hopamp3.Init.PgaConnect = OPAMP_PGA_CONNECT_INVERTINGINPUT_IO0_BIAS;
  hopamp3.Init.PgaGain = OPAMP_PGA_GAIN_16_OR_MINUS_15;
  hopamp3.Init.UserTrimming = OPAMP_TRIMMING_FACTORY;
  if (HAL_OPAMP_Init(&hopamp3) != HAL_OK)
  {
    Error_Handler();
  }

}

static void MX_TIM1_Init(void)
{

  TIM_MasterConfigTypeDef sMasterConfig = {0};
  TIM_OC_InitTypeDef sConfigOC = {0};
  TIM_BreakDeadTimeConfigTypeDef sBreakDeadTimeConfig = {0};

  htim1.Instance = TIM1;
  htim1.Init.Prescaler = 0;
  htim1.Init.CounterMode = TIM_COUNTERMODE_CENTERALIGNED1;
  htim1.Init.Period = 4999;
  htim1.Init.ClockDivision = TIM_CLOCKDIVISION_DIV1;
  htim1.Init.RepetitionCounter = 0;
  htim1.Init.AutoReloadPreload = TIM_AUTORELOAD_PRELOAD_DISABLE;
  if (HAL_TIM_PWM_Init(&htim1) != HAL_OK)
  {
    Error_Handler();
  }
  sMasterConfig.MasterOutputTrigger = TIM_TRGO_UPDATE;
  sMasterConfig.MasterOutputTrigger2 = TIM_TRGO2_RESET;
  sMasterConfig.MasterSlaveMode = TIM_MASTERSLAVEMODE_DISABLE;
  if (HAL_TIMEx_MasterConfigSynchronization(&htim1, &sMasterConfig) != HAL_OK)
  {
    Error_Handler();
  }
  sConfigOC.OCMode = TIM_OCMODE_PWM1;
  sConfigOC.Pulse = 0;
  sConfigOC.OCPolarity = TIM_OCPOLARITY_HIGH;
  sConfigOC.OCNPolarity = TIM_OCNPOLARITY_HIGH;
  sConfigOC.OCFastMode = TIM_OCFAST_DISABLE;
  sConfigOC.OCIdleState = TIM_OCIDLESTATE_RESET;
  sConfigOC.OCNIdleState = TIM_OCNIDLESTATE_RESET;
  if (HAL_TIM_PWM_ConfigChannel(&htim1, &sConfigOC, TIM_CHANNEL_1) != HAL_OK)
  {
    Error_Handler();
  }
  if (HAL_TIM_PWM_ConfigChannel(&htim1, &sConfigOC, TIM_CHANNEL_2) != HAL_OK)
  {
    Error_Handler();
  }
  if (HAL_TIM_PWM_ConfigChannel(&htim1, &sConfigOC, TIM_CHANNEL_3) != HAL_OK)
  {
    Error_Handler();
  }
  sBreakDeadTimeConfig.OffStateRunMode = TIM_OSSR_DISABLE;
  sBreakDeadTimeConfig.OffStateIDLEMode = TIM_OSSI_DISABLE;
  sBreakDeadTimeConfig.LockLevel = TIM_LOCKLEVEL_OFF;
  sBreakDeadTimeConfig.DeadTime = 128;
  sBreakDeadTimeConfig.BreakState = TIM_BREAK_DISABLE;
  sBreakDeadTimeConfig.BreakPolarity = TIM_BREAKPOLARITY_HIGH;
  sBreakDeadTimeConfig.BreakFilter = 0;
  sBreakDeadTimeConfig.BreakAFMode = TIM_BREAK_AFMODE_INPUT;
  sBreakDeadTimeConfig.Break2State = TIM_BREAK2_DISABLE;
  sBreakDeadTimeConfig.Break2Polarity = TIM_BREAK2POLARITY_HIGH;
  sBreakDeadTimeConfig.Break2Filter = 0;
  sBreakDeadTimeConfig.Break2AFMode = TIM_BREAK_AFMODE_INPUT;
  sBreakDeadTimeConfig.AutomaticOutput = TIM_AUTOMATICOUTPUT_DISABLE;
  if (HAL_TIMEx_ConfigBreakDeadTime(&htim1, &sBreakDeadTimeConfig) != HAL_OK)
  {
    Error_Handler();
  }
  HAL_TIM_MspPostInit(&htim1);

}

static void MX_TIM4_Init(void)
{

  TIM_SlaveConfigTypeDef sSlaveConfig = {0};
  TIM_IC_InitTypeDef sConfigIC = {0};
  TIM_MasterConfigTypeDef sMasterConfig = {0};

  htim4.Instance = TIM4;
  htim4.Init.Prescaler = 159;
  htim4.Init.CounterMode = TIM_COUNTERMODE_UP;
  htim4.Init.Period = 999;
  htim4.Init.ClockDivision = TIM_CLOCKDIVISION_DIV1;
  htim4.Init.AutoReloadPreload = TIM_AUTORELOAD_PRELOAD_DISABLE;
  if (HAL_TIM_IC_Init(&htim4) != HAL_OK)
  {
    Error_Handler();
  }
  sSlaveConfig.SlaveMode = TIM_SLAVEMODE_RESET;
  sSlaveConfig.InputTrigger = TIM_TS_TI1FP1;
  sSlaveConfig.TriggerPolarity = TIM_INPUTCHANNELPOLARITY_RISING;
  sSlaveConfig.TriggerPrescaler = TIM_ICPSC_DIV1;
  sSlaveConfig.TriggerFilter = 0;
  if (HAL_TIM_SlaveConfigSynchro(&htim4, &sSlaveConfig) != HAL_OK)
  {
    Error_Handler();
  }
  sConfigIC.ICPolarity = TIM_INPUTCHANNELPOLARITY_RISING;
  sConfigIC.ICSelection = TIM_ICSELECTION_DIRECTTI;
  sConfigIC.ICPrescaler = TIM_ICPSC_DIV1;
  sConfigIC.ICFilter = 0;
  if (HAL_TIM_IC_ConfigChannel(&htim4, &sConfigIC, TIM_CHANNEL_1) != HAL_OK)
  {
    Error_Handler();
  }
  sConfigIC.ICPolarity = TIM_INPUTCHANNELPOLARITY_FALLING;
  sConfigIC.ICSelection = TIM_ICSELECTION_INDIRECTTI;
  if (HAL_TIM_IC_ConfigChannel(&htim4, &sConfigIC, TIM_CHANNEL_2) != HAL_OK)
  {
    Error_Handler();
  }
  sMasterConfig.MasterOutputTrigger = TIM_TRGO_RESET;
  sMasterConfig.MasterSlaveMode = TIM_MASTERSLAVEMODE_DISABLE;
  if (HAL_TIMEx_MasterConfigSynchronization(&htim4, &sMasterConfig) != HAL_OK)
  {
    Error_Handler();
  }

}

static void MX_TIM6_Init(void)
{

  TIM_MasterConfigTypeDef sMasterConfig = {0};

  htim6.Instance = TIM6;
  htim6.Init.Prescaler = 159;
  htim6.Init.CounterMode = TIM_COUNTERMODE_UP;
  htim6.Init.Period = 9999;
  htim6.Init.AutoReloadPreload = TIM_AUTORELOAD_PRELOAD_DISABLE;
  if (HAL_TIM_Base_Init(&htim6) != HAL_OK)
  {
    Error_Handler();
  }
  sMasterConfig.MasterOutputTrigger = TIM_TRGO_RESET;
  sMasterConfig.MasterSlaveMode = TIM_MASTERSLAVEMODE_DISABLE;
  if (HAL_TIMEx_MasterConfigSynchronization(&htim6, &sMasterConfig) != HAL_OK)
  {
    Error_Handler();
  }

}

static void MX_TIM7_Init(void)
{

  TIM_MasterConfigTypeDef sMasterConfig = {0};

  htim7.Instance = TIM7;
  htim7.Init.Prescaler = 159;
  htim7.Init.CounterMode = TIM_COUNTERMODE_UP;
  htim7.Init.Period = 65535;
  htim7.Init.AutoReloadPreload = TIM_AUTORELOAD_PRELOAD_DISABLE;
  if (HAL_TIM_Base_Init(&htim7) != HAL_OK)
  {
    Error_Handler();
  }
  sMasterConfig.MasterOutputTrigger = TIM_TRGO_RESET;
  sMasterConfig.MasterSlaveMode = TIM_MASTERSLAVEMODE_DISABLE;
  if (HAL_TIMEx_MasterConfigSynchronization(&htim7, &sMasterConfig) != HAL_OK)
  {
    Error_Handler();
  }

}

static void MX_USART2_UART_Init(void)
{

  huart2.Instance = USART2;
  huart2.Init.BaudRate = 115200;
  huart2.Init.WordLength = UART_WORDLENGTH_8B;
  huart2.Init.StopBits = UART_STOPBITS_1;
  huart2.Init.Parity = UART_PARITY_NONE;
  huart2.Init.Mode = UART_MODE_TX_RX;
  huart2.Init.HwFlowCtl = UART_HWCONTROL_NONE;
  huart2.Init.OverSampling = UART_OVERSAMPLING_16;
  huart2.Init.OneBitSampling = UART_ONE_BIT_SAMPLE_DISABLE;
  huart2.Init.ClockPrescaler = UART_PRESCALER_DIV1;
  huart2.AdvancedInit.AdvFeatureInit = UART_ADVFEATURE_RXOVERRUNDISABLE_INIT|UART_ADVFEATURE_DMADISABLEONERROR_INIT;
  huart2.AdvancedInit.OverrunDisable = UART_ADVFEATURE_OVERRUN_DISABLE;
  huart2.AdvancedInit.DMADisableonRxError = UART_ADVFEATURE_DMA_DISABLEONRXERROR;
  if (HAL_UART_Init(&huart2) != HAL_OK)
  {
    Error_Handler();
  }
  if (HAL_UARTEx_SetTxFifoThreshold(&huart2, UART_TXFIFO_THRESHOLD_1_8) != HAL_OK)
  {
    Error_Handler();
  }
  if (HAL_UARTEx_SetRxFifoThreshold(&huart2, UART_RXFIFO_THRESHOLD_1_8) != HAL_OK)
  {
    Error_Handler();
  }
  if (HAL_UARTEx_DisableFifoMode(&huart2) != HAL_OK)
  {
    Error_Handler();
  }

}

static void MX_DMA_Init(void)
{

  /* DMA controller clock enable */
  __HAL_RCC_DMAMUX1_CLK_ENABLE();
  __HAL_RCC_DMA1_CLK_ENABLE();

  /* DMA interrupt init */
  /* DMA1_Channel1_IRQn interrupt configuration */
  HAL_NVIC_SetPriority(DMA1_Channel1_IRQn, 0, 0);
  HAL_NVIC_EnableIRQ(DMA1_Channel1_IRQn);
  /* DMA1_Channel2_IRQn interrupt configuration */
  HAL_NVIC_SetPriority(DMA1_Channel2_IRQn, 0, 0);
  HAL_NVIC_EnableIRQ(DMA1_Channel2_IRQn);
  /* DMA1_Channel3_IRQn interrupt configuration */
  HAL_NVIC_SetPriority(DMA1_Channel3_IRQn, 0, 0);
  HAL_NVIC_EnableIRQ(DMA1_Channel3_IRQn);
  /* DMA1_Channel4_IRQn interrupt configuration */
  HAL_NVIC_SetPriority(DMA1_Channel4_IRQn, 0, 0);
  HAL_NVIC_EnableIRQ(DMA1_Channel4_IRQn);

}

static void MX_GPIO_Init(void)
{
  GPIO_InitTypeDef GPIO_InitStruct = {0};

  /* GPIO Ports Clock Enable */
  __HAL_RCC_GPIOC_CLK_ENABLE();
  __HAL_RCC_GPIOF_CLK_ENABLE();
  __HAL_RCC_GPIOA_CLK_ENABLE();
  __HAL_RCC_GPIOB_CLK_ENABLE();

  /*Configure GPIO pin Output Level */
  HAL_GPIO_WritePin(GPIO_LED_GPIO_Port, GPIO_LED_Pin, GPIO_PIN_RESET);

  /*Configure GPIO pin Output Level */
  HAL_GPIO_WritePin(GPIO_CAN_TERM_GPIO_Port, GPIO_CAN_TERM_Pin, GPIO_PIN_SET);

  /*Configure GPIO pins : GPIO_LED_Pin GPIO_CAN_TERM_Pin */
  GPIO_InitStruct.Pin = GPIO_LED_Pin|GPIO_CAN_TERM_Pin;
  GPIO_InitStruct.Mode = GPIO_MODE_OUTPUT_PP;
  GPIO_InitStruct.Pull = GPIO_NOPULL;
  GPIO_InitStruct.Speed = GPIO_SPEED_FREQ_LOW;
  HAL_GPIO_Init(GPIOC, &GPIO_InitStruct);

  /*Configure GPIO pin : GPIO_BUTTON_Pin */
  GPIO_InitStruct.Pin = GPIO_BUTTON_Pin;
  GPIO_InitStruct.Mode = GPIO_MODE_INPUT;
  GPIO_InitStruct.Pull = GPIO_NOPULL;
  HAL_GPIO_Init(GPIO_BUTTON_GPIO_Port, &GPIO_InitStruct);

}

void Error_Handler(void)
{
  __disable_irq();
  while (1)
  {
  }
}
